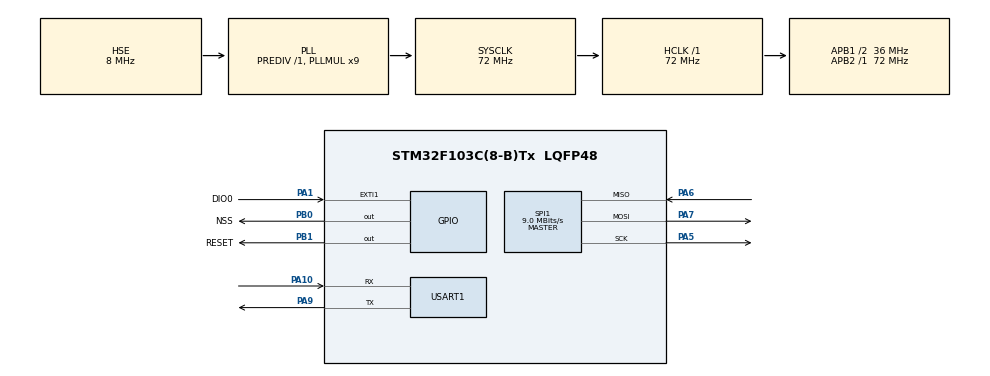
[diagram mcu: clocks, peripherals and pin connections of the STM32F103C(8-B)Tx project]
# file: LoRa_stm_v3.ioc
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Mcu.Family=STM32F1
Mcu.Name=STM32F103C(8-B)Tx
Mcu.Package=LQFP48
NVIC.PriorityGroup=NVIC_PRIORITYGROUP_4
PA1.GPIO_Label=DIO0
PA1.Signal=GPXTI1
PA10.Mode=Asynchronous
PA10.Signal=USART1_RX
PA13.Mode=Serial_Wire
PA13.Signal=SYS_JTMS-SWDIO
PA14.Mode=Serial_Wire
PA14.Signal=SYS_JTCK-SWCLK
PA5.Mode=Full_Duplex_Master
PA5.Signal=SPI1_SCK
PA6.Mode=Full_Duplex_Master
PA6.Signal=SPI1_MISO
PA7.Mode=Full_Duplex_Master
PA7.Signal=SPI1_MOSI
PA9.Mode=Asynchronous
PA9.Signal=USART1_TX
PB0.GPIO_Label=NSS
PB0.PinState=GPIO_PIN_SET
PB0.Signal=GPIO_Output
PB1.GPIO_Label=RESET
PB1.PinState=GPIO_PIN_SET
PB1.Signal=GPIO_Output
PD0-OSC_IN.Mode=HSE-External-Oscillator
PD0-OSC_IN.Signal=RCC_OSC_IN
PD1-OSC_OUT.Mode=HSE-External-Oscillator
PD1-OSC_OUT.Signal=RCC_OSC_OUT
ProjectManager.HeapSize=0x200
ProjectManager.StackSize=0x400
ProjectManager.TargetToolchain=STM32CubeIDE
RCC.AHBFreq_Value=72000000
RCC.APB1CLKDivider=RCC_HCLK_DIV2
RCC.APB1Freq_Value=36000000
RCC.APB1TimFreq_Value=72000000
RCC.APB2Freq_Value=72000000
RCC.APB2TimFreq_Value=72000000
RCC.HCLKFreq_Value=72000000
RCC.PLLMUL=RCC_PLL_MUL9
RCC.PLLSourceVirtual=RCC_PLLSOURCE_HSE
RCC.SYSCLKFreq_VALUE=72000000
RCC.SYSCLKSource=RCC_SYSCLKSOURCE_PLLCLK
RCC.USBFreq_Value=72000000
SPI1.BaudRatePrescaler=SPI_BAUDRATEPRESCALER_8
SPI1.CalculateBaudRate=9.0 MBits/s
SPI1.Direction=SPI_DIRECTION_2LINES
SPI1.Mode=SPI_MODE_MASTER
SPI1.VirtualType=VM_MASTER
USART1.VirtualMode=VM_ASYNC
board=custom

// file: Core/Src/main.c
/* USER CODE BEGIN Header */
/**
  ******************************************************************************
  * @file           : main.c
  * @brief          : Main program body
  ******************************************************************************
  * @attention
  *
  * Copyright (c) 2026 STMicroelectronics.
  * All rights reserved.
  *
  * This software is licensed under terms that can be found in the LICENSE file
  * in the root directory of this software component.
  * If no LICENSE file comes with this software, it is provided AS-IS.
  *
  ******************************************************************************
  */
/* USER CODE END Header */
#include "main.h"

/* USER CODE BEGIN Includes */
#include <string.h>
#include <stdio.h>
#include "LoRa.h"
#include <stdint.h>
#include "stm32f1xx.h"
/* USER CODE END Includes */

SPI_HandleTypeDef hspi1;

UART_HandleTypeDef huart1;

/* USER CODE BEGIN PV */
LoRa myLoRa;
uint16_t LoRa_status;
/* USER CODE END PV */

void SystemClock_Config(void);
static void MX_GPIO_Init(void);
static void MX_SPI1_Init(void);
static void MX_USART1_UART_Init(void);
/* USER CODE BEGIN PFP */
void printu(const char *msg);
void print_reset_reason(void);
void STM32_GetUID(uint32_t uid[3]);
/* USER CODE END PFP */

/* USER CODE BEGIN 0 */
extern SPI_HandleTypeDef hspi1;
extern UART_HandleTypeDef huart1;
/* USER CODE END 0 */

int main(void)
{

  /* MCU Configuration--------------------------------------------------------*/

  /* Reset of all peripherals, Initializes the Flash interface and the Systick. */
  HAL_Init();

  /* USER CODE BEGIN Init */
  MX_GPIO_Init();
  MX_SPI1_Init();
  MX_USART1_UART_Init();
  /* USER CODE END Init */

  /* Configure the system clock */
  SystemClock_Config();

  /* Initialize all configured peripherals */
  MX_GPIO_Init();
  MX_SPI1_Init();
  MX_USART1_UART_Init();
  /* USER CODE BEGIN 2 */
	uint32_t uid[3];
	STM32_GetUID(uid);
    printu("\r\n===============================\r\n");
    printu(" STM32F103 LoRa TRANSMITTER\r\n");
    printu("===============================\r\n");

    /* ---------- SX127x RESET ---------- */
    HAL_GPIO_WritePin(RESET_GPIO_Port, RESET_Pin, GPIO_PIN_RESET);
    HAL_Delay(10);
    HAL_GPIO_WritePin(RESET_GPIO_Port, RESET_Pin, GPIO_PIN_SET);
    HAL_Delay(10);

    /* ---------- NSS HIGH (IDLE) ---------- */
    HAL_GPIO_WritePin(NSS_GPIO_Port, NSS_Pin, GPIO_PIN_SET);

    /* ---------- INIT LoRa STRUCT ---------- */
    myLoRa = newLoRa();
    myLoRa.CS_port    = NSS_GPIO_Port;
    myLoRa.CS_pin     = NSS_Pin;
    myLoRa.reset_port = RESET_GPIO_Port;
    myLoRa.reset_pin  = RESET_Pin;
    myLoRa.DIO0_port  = DIO0_GPIO_Port;
    myLoRa.DIO0_pin   = DIO0_Pin;
    myLoRa.hSPIx      = &hspi1;

    printu("Initializing LoRa...\r\n");
    LoRa_status = LoRa_init(&myLoRa);

    if (LoRa_status != LORA_OK)
    {
      char err[64];
      sprintf(err, "LoRa INIT FAILED (%d)\r\n", LoRa_status);
      printu(err);

      while (1)
      {
        HAL_GPIO_TogglePin(GPIOD, GPIO_PIN_2);
        HAL_Delay(200);
      }
    }

    printu("LoRa INIT SUCCESS ✅\r\n");
    printu("Frequency: 433 MHz\r\n");
    printu("SF: 7 | BW: 125 kHz\r\n\r\n");
  /* USER CODE END 2 */

  /* Infinite loop */
  /* USER CODE BEGIN WHILE */
    int counter = 0;
  while (1)
  {
	     char payload[64];
	     snprintf(payload, sizeof(payload),
	              "I_AM_UID:%08lX-%08lX-%08lX | #%d",
	              uid[0], uid[1], uid[2],++counter);

	     printu("TX -> ");
	     printu(payload);
	     printu("\r\n");

	     uint16_t tx = LoRa_transmit(
	                     &myLoRa,
	                     (uint8_t*)payload,
	                     strlen(payload),
	                     200
	                   );

	     if (tx == 1)
	       printu("TX OK\r\n\r\n");
	     else
	     {
	       char e[40];
	       sprintf(e, "TX FAIL (%d)\r\n\r\n", tx);
	       printu(e);
	     }

	     HAL_Delay(1000);
    /* USER CODE END WHILE */

  }
}

void SystemClock_Config(void)
{
  RCC_OscInitTypeDef RCC_OscInitStruct = {0};
  RCC_ClkInitTypeDef RCC_ClkInitStruct = {0};

  /** Initializes the RCC Oscillators according to the specified parameters
  * in the RCC_OscInitTypeDef structure.
  */
  RCC_OscInitStruct.OscillatorType = RCC_OSCILLATORTYPE_HSE;
  RCC_OscInitStruct.HSEState = RCC_HSE_ON;
  RCC_OscInitStruct.HSEPredivValue = RCC_HSE_PREDIV_DIV1;
  RCC_OscInitStruct.HSIState = RCC_HSI_ON;
  RCC_OscInitStruct.PLL.PLLState = RCC_PLL_ON;
  RCC_OscInitStruct.PLL.PLLSource = RCC_PLLSOURCE_HSE;
  RCC_OscInitStruct.PLL.PLLMUL = RCC_PLL_MUL9;
  if (HAL_RCC_OscConfig(&RCC_OscInitStruct) != HAL_OK)
  {
    Error_Handler();
  }

  /** Initializes the CPU, AHB and APB buses clocks
  */
  RCC_ClkInitStruct.ClockType = RCC_CLOCKTYPE_HCLK|RCC_CLOCKTYPE_SYSCLK
                              |RCC_CLOCKTYPE_PCLK1|RCC_CLOCKTYPE_PCLK2;
  RCC_ClkInitStruct.SYSCLKSource = RCC_SYSCLKSOURCE_PLLCLK;
  RCC_ClkInitStruct.AHBCLKDivider = RCC_SYSCLK_DIV1;
  RCC_ClkInitStruct.APB1CLKDivider = RCC_HCLK_DIV2;
  RCC_ClkInitStruct.APB2CLKDivider = RCC_HCLK_DIV1;

  if (HAL_RCC_ClockConfig(&RCC_ClkInitStruct, FLASH_LATENCY_2) != HAL_OK)
  {
    Error_Handler();
  }
}

static void MX_SPI1_Init(void)
{

  /* SPI1 parameter configuration*/
  hspi1.Instance = SPI1;
  hspi1.Init.Mode = SPI_MODE_MASTER;
  hspi1.Init.Direction = SPI_DIRECTION_2LINES;
  hspi1.Init.DataSize = SPI_DATASIZE_8BIT;
  hspi1.Init.CLKPolarity = SPI_POLARITY_LOW;
  hspi1.Init.CLKPhase = SPI_PHASE_1EDGE;
  hspi1.Init.NSS = SPI_NSS_SOFT;
  hspi1.Init.BaudRatePrescaler = SPI_BAUDRATEPRESCALER_8;
  hspi1.Init.FirstBit = SPI_FIRSTBIT_MSB;
  hspi1.Init.TIMode = SPI_TIMODE_DISABLE;
  hspi1.Init.CRCCalculation = SPI_CRCCALCULATION_DISABLE;
  hspi1.Init.CRCPolynomial = 10;
  if (HAL_SPI_Init(&hspi1) != HAL_OK)
  {
    Error_Handler();
  }

}

static void MX_USART1_UART_Init(void)
{

  huart1.Instance = USART1;
  huart1.Init.BaudRate = 115200;
  huart1.Init.WordLength = UART_WORDLENGTH_8B;
  huart1.Init.StopBits = UART_STOPBITS_1;
  huart1.Init.Parity = UART_PARITY_NONE;
  huart1.Init.Mode = UART_MODE_TX_RX;
  huart1.Init.HwFlowCtl = UART_HWCONTROL_NONE;
  huart1.Init.OverSampling = UART_OVERSAMPLING_16;
  if (HAL_UART_Init(&huart1) != HAL_OK)
  {
    Error_Handler();
  }

}

static void MX_GPIO_Init(void)
{
  GPIO_InitTypeDef GPIO_InitStruct = {0};

  /* GPIO Ports Clock Enable */
  __HAL_RCC_GPIOD_CLK_ENABLE();
  __HAL_RCC_GPIOA_CLK_ENABLE();
  __HAL_RCC_GPIOB_CLK_ENABLE();

  /*Configure GPIO pin Output Level */
  HAL_GPIO_WritePin(GPIOB, NSS_Pin|RESET_Pin, GPIO_PIN_SET);

  /*Configure GPIO pin : DIO0_Pin */
  GPIO_InitStruct.Pin = DIO0_Pin;
  GPIO_InitStruct.Mode = GPIO_MODE_IT_RISING;
  GPIO_InitStruct.Pull = GPIO_NOPULL;
  HAL_GPIO_Init(DIO0_GPIO_Port, &GPIO_InitStruct);

  /*Configure GPIO pins : NSS_Pin RESET_Pin */
  GPIO_InitStruct.Pin = NSS_Pin|RESET_Pin;
  GPIO_InitStruct.Mode = GPIO_MODE_OUTPUT_PP;
  GPIO_InitStruct.Pull = GPIO_NOPULL;
  GPIO_InitStruct.Speed = GPIO_SPEED_FREQ_LOW;
  HAL_GPIO_Init(GPIOB, &GPIO_InitStruct);

}

/* USER CODE BEGIN 4 */
void printu(const char *msg)
{
  HAL_UART_Transmit(
      &huart1,
      (uint8_t*)msg,
      strlen(msg),
      100
  );
}
void STM32_GetUID(uint32_t uid[3])
{
    uid[0] = *(uint32_t*)0x1FFFF7E8;
    uid[1] = *(uint32_t*)0x1FFFF7EC;
    uid[2] = *(uint32_t*)0x1FFFF7F0;
}

void print_reset_reason(void)
{
    uint32_t flags = RCC->CSR;
    //char msg[64];

    if(flags & RCC_CSR_LPWRRSTF) {
        printu("Reset Reason: Low Power (Brown-out)\r\n");
    } else if(flags & RCC_CSR_WWDGRSTF) {
        printu("Reset Reason: Window Watchdog\r\n");
    } else if(flags & RCC_CSR_IWDGRSTF) {
        printu("Reset Reason: Independent Watchdog\r\n");
    } else if(flags & RCC_CSR_SFTRSTF) {
        printu("Reset Reason: Software Reset\r\n");
    } else if(flags & RCC_CSR_PORRSTF) {
        printu("Reset Reason: Power-on Reset\r\n");
    } else if(flags & RCC_CSR_PINRSTF) {
        printu("Reset Reason: External Pin Reset\r\n");
    } else {
        printu("Reset Reason: Unknown\r\n");
    }

    // Clear reset flags
    RCC->CSR |= RCC_CSR_RMVF;
}
/* USER CODE END 4 */

void Error_Handler(void)
{
  __disable_irq();
  while (1)
  {
  }
}
